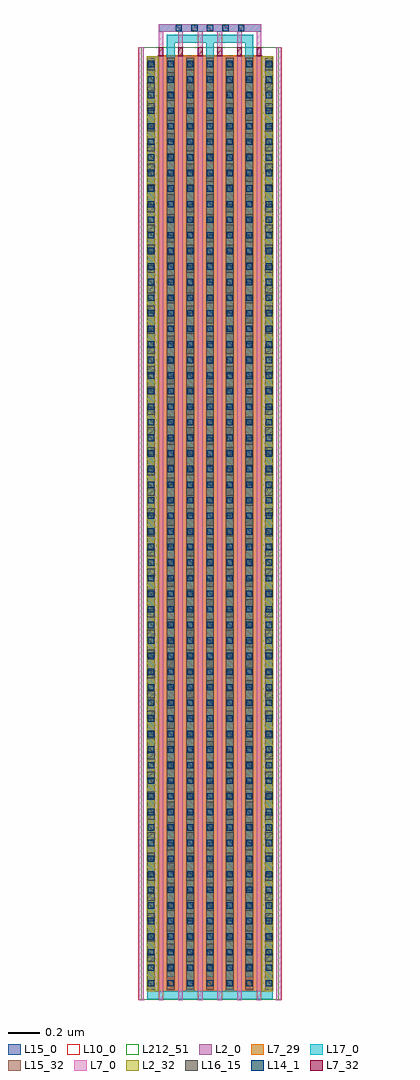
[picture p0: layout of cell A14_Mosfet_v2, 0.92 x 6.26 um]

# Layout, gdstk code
import gdstk
lib = gdstk.Library(unit=1e-6, precision=1e-09)
def R(c, l, rs):  # rectangles x0, y0, x1, y1
    for r in rs: c.add(gdstk.rectangle(r[:2], r[2:], *l))
def A(c, l, x, y, w, h, nx, ny, dx, dy):  # array of equal rectangles
    R(c, l, [(x+i*dx, y+j*dy, x+i*dx+w, y+j*dy+h) for i in range(nx) for j in range(ny)])
L2_0 = (2, 0)
L2_32 = (2, 32)
L7_0 = (7, 0)
L7_29 = (7, 29)
L7_32 = (7, 32)
L10_0 = (10, 0)
L14_1 = (14, 1)
L15_0 = (15, 0)
L15_32 = (15, 32)
L16_15 = (16, 15)
L17_0 = (17, 0)
L212_51 = (212, 51)

a14_mosfet_v2_srf_source = lib.new_cell('A14_Mosfet_v2:SRF_Source_ViaM1M2:SRF_ViaM1M2')
R(a14_mosfet_v2_srf_source, L15_0, [(0,-5.752,0.05,0.082)])
A(a14_mosfet_v2_srf_source, L16_15, 0, -5.72, 0.05, 0.05, 1, 45, 0, 0.13)
R(a14_mosfet_v2_srf_source, L17_0, [(0,-5.752,0.05,0.082)])

c_a14_mosfet_v2_srf_source = lib.new_cell('A14_Mosfet_v2:SRF_Source_ViaM1M2')
c_a14_mosfet_v2_srf_source.add(gdstk.Reference(a14_mosfet_v2_srf_source, (-0.025,2.835)))

a14_mosfet_v2_srf_drain_ = lib.new_cell('A14_Mosfet_v2:SRF_Drain_ViaM1M2:SRF_ViaM1M2')
R(a14_mosfet_v2_srf_drain_, L15_0, [(0,-5.752,0.05,0.082)])
A(a14_mosfet_v2_srf_drain_, L16_15, 0, -5.72, 0.05, 0.05, 1, 45, 0, 0.13)
R(a14_mosfet_v2_srf_drain_, L17_0, [(0,-5.752,0.05,0.082)])

c_a14_mosfet_v2_srf_drain_ = lib.new_cell('A14_Mosfet_v2:SRF_Drain_ViaM1M2')
c_a14_mosfet_v2_srf_drain_.add(gdstk.Reference(a14_mosfet_v2_srf_drain_, (-0.025,2.835)))

a14_mosfet_v2_srf_gate_v = lib.new_cell('A14_Mosfet_v2:SRF_Gate_ViaM0Mx:SRF_ViaM0M1')
R(a14_mosfet_v2_srf_gate_v, L7_0, [(-0.01,-0.004,0.45,0.044)])
A(a14_mosfet_v2_srf_gate_v, L14_1, 0, 0, 0.04, 0.04, 5, 1, 0.1, 0)
R(a14_mosfet_v2_srf_gate_v, L15_0, [(-0.021,-0.005,0.461,0.045)])

c_a14_mosfet_v2_srf_gate_v = lib.new_cell('A14_Mosfet_v2:SRF_Gate_ViaM0Mx')
c_a14_mosfet_v2_srf_gate_v.add(gdstk.Reference(a14_mosfet_v2_srf_gate_v, (-0.22,-0.02)))

a14_mosfet_v2 = lib.new_cell('A14_Mosfet_v2')
R(a14_mosfet_v2, L2_0, [(-0.076,0.057,0.736,6.057)])
R(a14_mosfet_v2, L2_32, [(-0.076,0.057,0,6.057), (0.66,0.057,0.736,6.057)])
A(a14_mosfet_v2, L7_0, -0.126, 0, 0.03, 6.114, 8, 1, 0.126, 0)
A(a14_mosfet_v2, L7_0, 0, 6.114, 0.03, 0.1, 6, 1, 0.126, 0)
R(a14_mosfet_v2, L7_0, [(0,6.214,0.66,6.262)])
R(a14_mosfet_v2, L7_29, [(-0.005,0.052,0.665,6.062)])
A(a14_mosfet_v2, L7_32, 0, 6.057, 0.03, 0.057, 6, 1, 0.126, 0)
R(a14_mosfet_v2, L10_0, [(-0.132,0.001,0.792,6.113)])
A(a14_mosfet_v2, L14_1, -0.068, 0.087, 0.04, 0.04, 7, 60, 0.126, 0.1)
R(a14_mosfet_v2, L15_0, [(-0.073,0.066,-0.023,6.048), (-0.073,0.066,-0.023,6.048), (0.053,0.066,0.103,6.048), (0.053,0.066,0.103,6.048), (0.179,0.066,0.229,6.048), (0.179,0.066,0.229,6.048), (0.305,0.066,0.355,6.048), (0.305,0.066,0.355,6.048), (0.431,0.066,0.481,6.048), (0.431,0.066,0.481,6.048), (0.557,0.066,0.607,6.048), (0.557,0.066,0.607,6.048), (0.683,0.066,0.733,6.048), (0.683,0.066,0.733,6.048), (0,6.213,0.66,6.263)])
A(a14_mosfet_v2, L15_32, -0.073, 0.066, 0.05, 5.982, 7, 1, 0.126, 0)
A(a14_mosfet_v2, L17_0, -0.073, 0.055, 0.05, 5.993, 4, 1, 0.252, 0)
A(a14_mosfet_v2, L17_0, 0.053, 5.984, 0.05, 0.159, 3, 1, 0.252, 0)
R(a14_mosfet_v2, L17_0, [(-0.073,0.005,0.733,0.055), (0.053,6.143,0.607,6.193)])
R(a14_mosfet_v2, L212_51, [(-0.111,0.001,0.771,6.113)])
a14_mosfet_v2.add(gdstk.Reference(c_a14_mosfet_v2_srf_source, (-0.048,3.131)))
a14_mosfet_v2.add(gdstk.Reference(c_a14_mosfet_v2_srf_source, (0.204,3.131)))
a14_mosfet_v2.add(gdstk.Reference(c_a14_mosfet_v2_srf_source, (0.456,3.131)))
a14_mosfet_v2.add(gdstk.Reference(c_a14_mosfet_v2_srf_source, (0.708,3.131)))
a14_mosfet_v2.add(gdstk.Reference(c_a14_mosfet_v2_srf_drain_, (0.078,3.067)))
a14_mosfet_v2.add(gdstk.Reference(c_a14_mosfet_v2_srf_drain_, (0.33,3.067)))
a14_mosfet_v2.add(gdstk.Reference(c_a14_mosfet_v2_srf_drain_, (0.582,3.067)))
a14_mosfet_v2.add(gdstk.Reference(c_a14_mosfet_v2_srf_gate_v, (0.33,6.238)))

lib.write_gds('A14_Mosfet_v2.gds')
